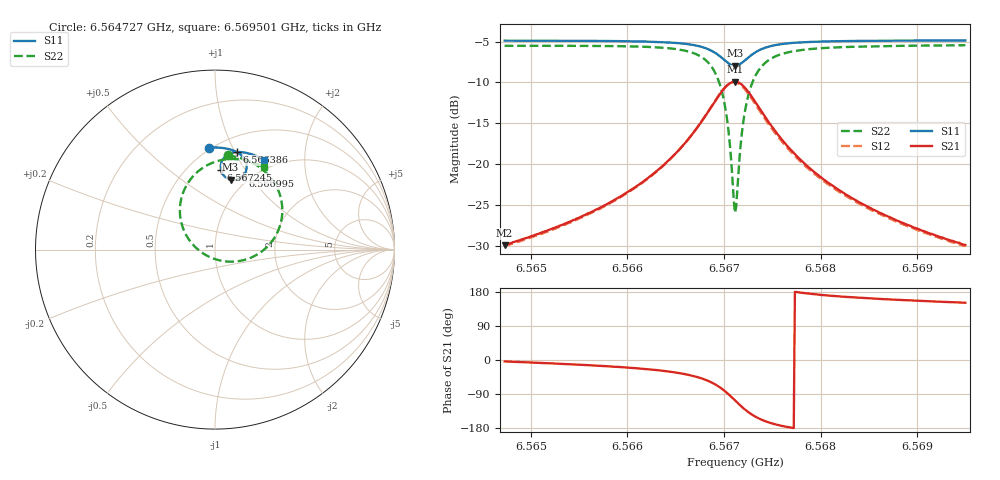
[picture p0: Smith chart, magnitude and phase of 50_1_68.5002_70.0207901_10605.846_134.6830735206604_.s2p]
#  HZ  S  RI  R  50.00
! Rohde & Schwarz Vector Network Analyzer
! Rohde-Schwarz,ZNB20-2Port,1311601062101988,3.16
! Created: UTC 3/20/2024, 4:50:47 PM
! freq[Hz]  re:S11  im:S11  re:S21  im:S21  re:S12  im:S12  re:S22  im:S22
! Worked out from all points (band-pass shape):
!   401 points, 6.564727 GHz to 6.569501 GHz, reference 50 ohm
!   highest |S21| = -9.90 dB at 6.567114 GHz (marker M1); lowest = -29.9 dB at 6.564727 GHz (marker M2)
!   |S21| within 3 dB of the highest: 6.566874 GHz to 6.567352 GHz (477.7 kHz wide, 0.00727 % of centre)
!   lowest |S11| = -8.0 dB at 6.567114 GHz (marker M3), VSWR 2.33, Z = 42.6 + j39.6 ohm
!   |S11| at or under -10 dB: nowhere
!   |S22| runs from -26.0 to -5.5 dB; largest |S21 - S12| = 0.017
!   S11 on the Smith chart (normalised r, x): 6.564727 GHz: 0.49, +0.82; 6.566386 GHz: 0.65, +1.02; 6.566995 GHz: 0.92, +0.93; 6.567245 GHz: 0.71, +0.79; 6.569501 GHz: 0.87, +1.29
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6.5647268e9  -0.0329 0.5685  0.0318 -0.00209  0.0313 -0.00258  0.0711 0.5246
6.5655266e9  0.0346 0.567  0.0466 -0.0106  0.0458 -0.0112  0.1531 0.5064
6.5659443e9  0.0735 0.5607  0.0606 -0.0208  0.0598 -0.0216  0.2074 0.4838
6.5663263e9  0.1142 0.5472  0.0827 -0.0426  0.0815 -0.0437  0.2739 0.4388
6.5663859e9  0.1214 0.5436  0.0875 -0.0486  0.0861 -0.0497  0.2867 0.427
6.5666247e9  0.1523 0.5206  0.1095 -0.0881  0.1081 -0.0901  0.3438 0.3494
6.5668037e9  0.1736 0.4835  0.1209 -0.1537  0.1178 -0.1571  0.3751 0.2228
6.5669111e9  0.1749 0.4454  0.1042 -0.2207  0.0981 -0.2255  0.3469 0.0944
6.5669947e9  0.1556 0.4101  0.0538 -0.2813  0.0428 -0.2847  0.2516 -0.0172
6.5670424e9  0.1327 0.3941  0.0034 -0.3064  -0.0106 -0.3069  0.1568 -0.0594
6.5670902e9  0.1028 0.388  -0.059 -0.3126  -0.0742 -0.308  0.0427 -0.0637
6.567114e9  0.0871 0.39  -0.0911 -0.3065  -0.1058 -0.299  -0.0139 -0.0483
6.5671379e9  0.0722 0.3953  -0.1214 -0.2937  -0.1348 -0.284  -0.0657 -0.0216
6.5671737e9  0.0532 0.4086  -0.1596 -0.2656  -0.17 -0.2529  -0.1289 0.0342
6.5671976e9  0.0438 0.4199  -0.179 -0.2426  -0.1869 -0.2289  -0.159 0.0778
6.5672453e9  0.0331 0.4447  -0.2022 -0.1936  -0.2057 -0.1796  -0.1911 0.1671
6.5673408e9  0.0364 0.488  -0.204 -0.1101  -0.2019 -0.0994  -0.1793 0.3128
6.567484e9  0.0635 0.5238  -0.1686 -0.0409  -0.1648 -0.0351  -0.1024 0.4286
6.5676511e9  0.0952 0.5391  -0.1299 -0.00801  -0.1265 -0.00489  -0.0216 0.4807
6.5679137e9  0.134 0.5439  -0.0911 0.00941  -0.0889 0.0108  0.0645 0.5032
6.5687134e9  0.2142 0.5274  -0.0445 0.0162  -0.0434 0.0166  0.1979 0.4895
6.5695012e9  0.2751 0.5005  -0.0279 0.0154  -0.0274 0.0154  0.2744 0.458
